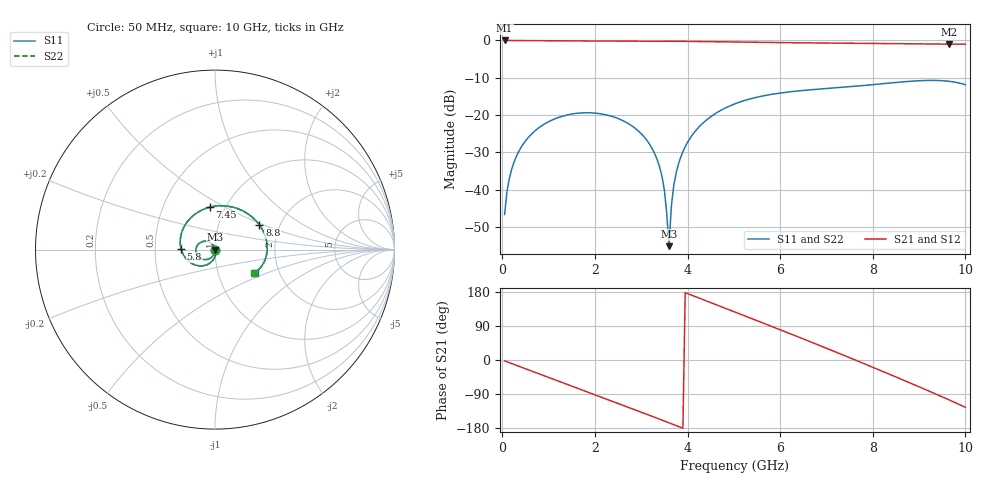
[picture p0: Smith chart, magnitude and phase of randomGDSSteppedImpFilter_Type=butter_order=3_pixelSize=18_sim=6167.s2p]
! freq	dB(S11)	phase(S11)	dB(S12)	phase(S12)
!  dB(S21)	phase(S21)	dB(S22)	phase(S22)
!S-par simulation data
#  GHz  S  DB  R 50
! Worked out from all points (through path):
!   200 points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, 50 MHz to 10 GHz, reference 50 ohm
!   highest |S21| = 0.00 dB at 50 MHz (marker M1); lowest = -1.0 dB at 9.65 GHz (marker M2)
!   group delay of S21, straight-line fit = 134 ps
!   lowest |S11| = -55.2 dB at 3.6 GHz (marker M3), VSWR 1.00, Z = 50.2 - j0.00144 ohm
!   |S11| at or under -10 dB: start of sweep to end of sweep
!   |S22| runs from -51.4 to -10.7 dB; largest |S21 - S12| = 0
!   S11 on the Smith chart (normalised r, x): 50 MHz: 1.00, -0.01; 5.8 GHz: 0.68, +0.01; 7.45 GHz: 0.85, +0.42; 8.8 GHz: 1.57, +0.47; 10 GHz: 1.50, -0.41
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0.05  -46.66 -91.6  -0.00 -2.3  -0.00 -2.3  -46.66 -91.6
0.2  -34.67 -99.1  -0.02 -9.3  -0.02 -9.3  -34.67 -99.1
0.5  -26.96 -113.2  -0.04 -23.0  -0.04 -23.0  -26.96 -113.3
1.05  -21.48 -138.9  -0.08 -48.2  -0.08 -48.2  -21.48 -139.0
1.75  -19.41 -171.3  -0.14 -80.1  -0.14 -80.1  -19.41 -171.5
2.8  -22.93 139.8  -0.17 -128.3  -0.17 -128.3  -22.93 139.2
3.15  -27.27 122.8  -0.18 -144.6  -0.18 -144.6  -27.27 121.6
3.4  -34.07 108.8  -0.20 -156.3  -0.20 -156.3  -34.03 106.0
3.5  -40.13 99.7  -0.20 -161.0  -0.20 -161.0  -39.97 94.0
3.6  -55.16 -0.5  -0.21 -165.8  -0.21 -165.8  -51.42 3.1
3.65  -44.57 -64.0  -0.21 -168.1  -0.21 -168.1  -44.05 -54.8
3.7  -39.12 -73.3  -0.22 -170.5  -0.22 -170.5  -38.96 -68.1
3.95  -28.49 -90.6  -0.24 177.7  -0.24 177.7  -28.47 -88.9
4.4  -21.43 -113.2  -0.31 156.3  -0.31 156.3  -21.42 -112.4
5.05  -16.87 -144.7  -0.42 125.3  -0.42 125.3  -16.86 -144.3
5.8  -14.48 178.9  -0.55 89.4  -0.55 89.4  -14.48 179.1
6.7  -13.19 134.6  -0.66 45.8  -0.66 45.8  -13.19 134.4
7.45  -12.46 97.0  -0.74 8.6  -0.74 8.6  -12.46 96.6
8.35  -11.44 51.6  -0.85 -37.1  -0.85 -37.1  -11.44 50.9
8.8  -10.96 29.1  -0.92 -60.3  -0.92 -60.3  -10.96 28.3
9.65  -10.96 -13.0  -1.00 -105.4  -1.00 -105.4  -10.97 -14.2
10  -11.88 -30.2  -0.98 -124.8  -0.98 -124.8  -11.90 -31.6
